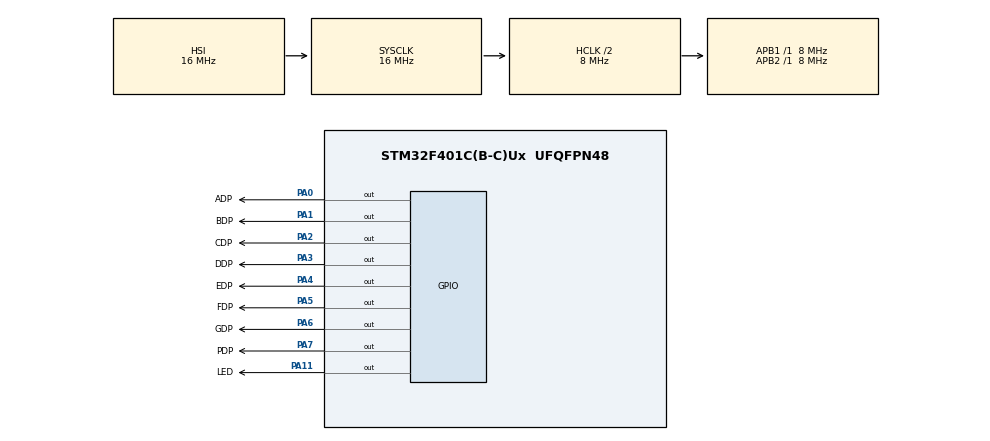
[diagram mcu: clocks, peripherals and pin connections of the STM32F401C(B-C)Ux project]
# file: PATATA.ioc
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Mcu.Family=STM32F4
Mcu.Name=STM32F401C(B-C)Ux
Mcu.Package=UFQFPN48
NVIC.PriorityGroup=NVIC_PRIORITYGROUP_4
PA0-WKUP.GPIO_Label=ADP
PA0-WKUP.Signal=GPIO_Output
PA1.GPIO_Label=BDP
PA1.Signal=GPIO_Output
PA11.GPIO_Label=LED
PA11.Signal=GPIO_Output
PA2.GPIO_Label=CDP
PA2.Signal=GPIO_Output
PA3.GPIO_Label=DDP
PA3.Signal=GPIO_Output
PA4.GPIO_Label=EDP
PA4.Signal=GPIO_Output
PA5.GPIO_Label=FDP
PA5.Signal=GPIO_Output
PA6.GPIO_Label=GDP
PA6.Signal=GPIO_Output
PA7.GPIO_Label=PDP
PA7.Signal=GPIO_Output
PH0\ -\ OSC_IN.Mode=HSE-External-Oscillator
PH0\ -\ OSC_IN.Signal=RCC_OSC_IN
PH1\ -\ OSC_OUT.Mode=HSE-External-Oscillator
PH1\ -\ OSC_OUT.Signal=RCC_OSC_OUT
ProjectManager.HeapSize=0x200
ProjectManager.StackSize=0x400
ProjectManager.TargetToolchain=STM32CubeIDE
RCC.AHBCLKDivider=RCC_SYSCLK_DIV2
RCC.AHBFreq_Value=8000000
RCC.APB1Freq_Value=8000000
RCC.APB1TimFreq_Value=8000000
RCC.APB2Freq_Value=8000000
RCC.APB2TimFreq_Value=8000000
RCC.CortexFreq_Value=8000000
RCC.HCLKFreq_Value=8000000
RCC.HSE_VALUE=25000000
RCC.HSI_VALUE=16000000
RCC.LSE_VALUE=32768
RCC.SYSCLKFreq_VALUE=16000000
RCC.VCOOutputFreq_Value=192000000
board=custom

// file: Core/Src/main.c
/* USER CODE BEGIN Header */
/**
  ******************************************************************************
  * @file           : main.c
  * @brief          : Main program body
  ******************************************************************************
  * @attention
  *
  * Copyright (c) 2023 STMicroelectronics.
  * All rights reserved.
  *
  * This software is licensed under terms that can be found in the LICENSE file
  * in the root directory of this software component.
  * If no LICENSE file comes with this software, it is provided AS-IS.
  *
  ******************************************************************************
  */
/* USER CODE END Header */
#include "main.h"

/* USER CODE BEGIN Includes */
#include "stdint.h"
#include <stdbool.h>

/* USER CODE END Includes */

/* USER CODE BEGIN PV */
bool  bit1=true,bit2;
//8 bit
  unsigned char charn=45;
  signed char   chars=-6;
   uint8_t  uint8n=45;
   int8_t   int8s;

   //2 byte
   unsigned short shortn=525;
   signed short   shorts=-5;
   uint16_t  unit16n=10;
   int16_t  unit16s=-6;

   //4 BYTE
    int  intn=100000;
   signed int ints=-5;
   unsigned long  longn=100000;
   signed long longs=-5;
   uint32_t  unit32n=10;
   int32_t  unit32s=-6;

   //8 BYTE
   uint64_t  unit64n=10;
   int64_t  unit64s=-6;

   //FLOTANTE
     float nota=2.1;
     double doublen;
     long double longdoublen;

/* USER CODE END PV */

void SystemClock_Config(void);
static void MX_GPIO_Init(void);

int main(void)
{

  /* MCU Configuration--------------------------------------------------------*/

  /* Reset of all peripherals, Initializes the Flash interface and the Systick. */
  HAL_Init();

  /* Configure the system clock */
  SystemClock_Config();

  /* Initialize all configured peripherals */
  MX_GPIO_Init();

  /* Infinite loop */
  /* USER CODE BEGIN WHILE */
  while (1)
  {

	  /*
	 HAL_GPIO_TogglePin(LED_GPIO_Port,LED_Pin);
	 HAL_Delay(500);
	 HAL_GPIO_WritePin(ADP_GPIO_Port,ADP_Pin,1);
	 HAL_GPIO_WritePin(ADP_GPIO_Port,BDP_Pin,0);
	 HAL_GPIO_WritePin(ADP_GPIO_Port,CDP_Pin,1);
	 HAL_GPIO_WritePin(ADP_GPIO_Port,DDP_Pin,1);
	 HAL_GPIO_WritePin(ADP_GPIO_Port,EDP_Pin,0);
	 HAL_GPIO_WritePin(ADP_GPIO_Port,FDP_Pin,1);
	 HAL_GPIO_WritePin(ADP_GPIO_Port,GDP_Pin,1);
	 HAL_GPIO_WritePin(ADP_GPIO_Port,PDP_Pin,0);
	*/

	 GPIOA->ODR=0b00111001;//C
	 HAL_Delay(500);
	 GPIOA->ODR=0x76;//H
	 HAL_Delay(500);
	 GPIOA->ODR=0b01110111;//A
		 HAL_Delay(500);
		 GPIOA->ODR=63;//O
			 HAL_Delay(500);

	 /* USER CODE END WHILE */

  }
}

void SystemClock_Config(void)
{
  RCC_OscInitTypeDef RCC_OscInitStruct = {0};
  RCC_ClkInitTypeDef RCC_ClkInitStruct = {0};

  /** Configure the main internal regulator output voltage
  */
  __HAL_RCC_PWR_CLK_ENABLE();
  __HAL_PWR_VOLTAGESCALING_CONFIG(PWR_REGULATOR_VOLTAGE_SCALE2);

  /** Initializes the RCC Oscillators according to the specified parameters
  * in the RCC_OscInitTypeDef structure.
  */
  RCC_OscInitStruct.OscillatorType = RCC_OSCILLATORTYPE_HSI;
  RCC_OscInitStruct.HSIState = RCC_HSI_ON;
  RCC_OscInitStruct.HSICalibrationValue = RCC_HSICALIBRATION_DEFAULT;
  RCC_OscInitStruct.PLL.PLLState = RCC_PLL_NONE;
  if (HAL_RCC_OscConfig(&RCC_OscInitStruct) != HAL_OK)
  {
    Error_Handler();
  }

  /** Initializes the CPU, AHB and APB buses clocks
  */
  RCC_ClkInitStruct.ClockType = RCC_CLOCKTYPE_HCLK|RCC_CLOCKTYPE_SYSCLK
                              |RCC_CLOCKTYPE_PCLK1|RCC_CLOCKTYPE_PCLK2;
  RCC_ClkInitStruct.SYSCLKSource = RCC_SYSCLKSOURCE_HSI;
  RCC_ClkInitStruct.AHBCLKDivider = RCC_SYSCLK_DIV2;
  RCC_ClkInitStruct.APB1CLKDivider = RCC_HCLK_DIV1;
  RCC_ClkInitStruct.APB2CLKDivider = RCC_HCLK_DIV1;

  if (HAL_RCC_ClockConfig(&RCC_ClkInitStruct, FLASH_LATENCY_0) != HAL_OK)
  {
    Error_Handler();
  }
}

static void MX_GPIO_Init(void)
{
  GPIO_InitTypeDef GPIO_InitStruct = {0};

  /* GPIO Ports Clock Enable */
  __HAL_RCC_GPIOH_CLK_ENABLE();
  __HAL_RCC_GPIOA_CLK_ENABLE();

  /*Configure GPIO pin Output Level */
  HAL_GPIO_WritePin(GPIOA, ADP_Pin|BDP_Pin|CDP_Pin|DDP_Pin
                          |EDP_Pin|FDP_Pin|GDP_Pin|PDP_Pin
                          |LED_Pin, GPIO_PIN_RESET);

  /*Configure GPIO pins : ADP_Pin BDP_Pin CDP_Pin DDP_Pin
                           EDP_Pin FDP_Pin GDP_Pin PDP_Pin
                           LED_Pin */
  GPIO_InitStruct.Pin = ADP_Pin|BDP_Pin|CDP_Pin|DDP_Pin
                          |EDP_Pin|FDP_Pin|GDP_Pin|PDP_Pin
                          |LED_Pin;
  GPIO_InitStruct.Mode = GPIO_MODE_OUTPUT_PP;
  GPIO_InitStruct.Pull = GPIO_NOPULL;
  GPIO_InitStruct.Speed = GPIO_SPEED_FREQ_LOW;
  HAL_GPIO_Init(GPIOA, &GPIO_InitStruct);

}

void Error_Handler(void)
{
  __disable_irq();
  while (1)
  {
  }
}
